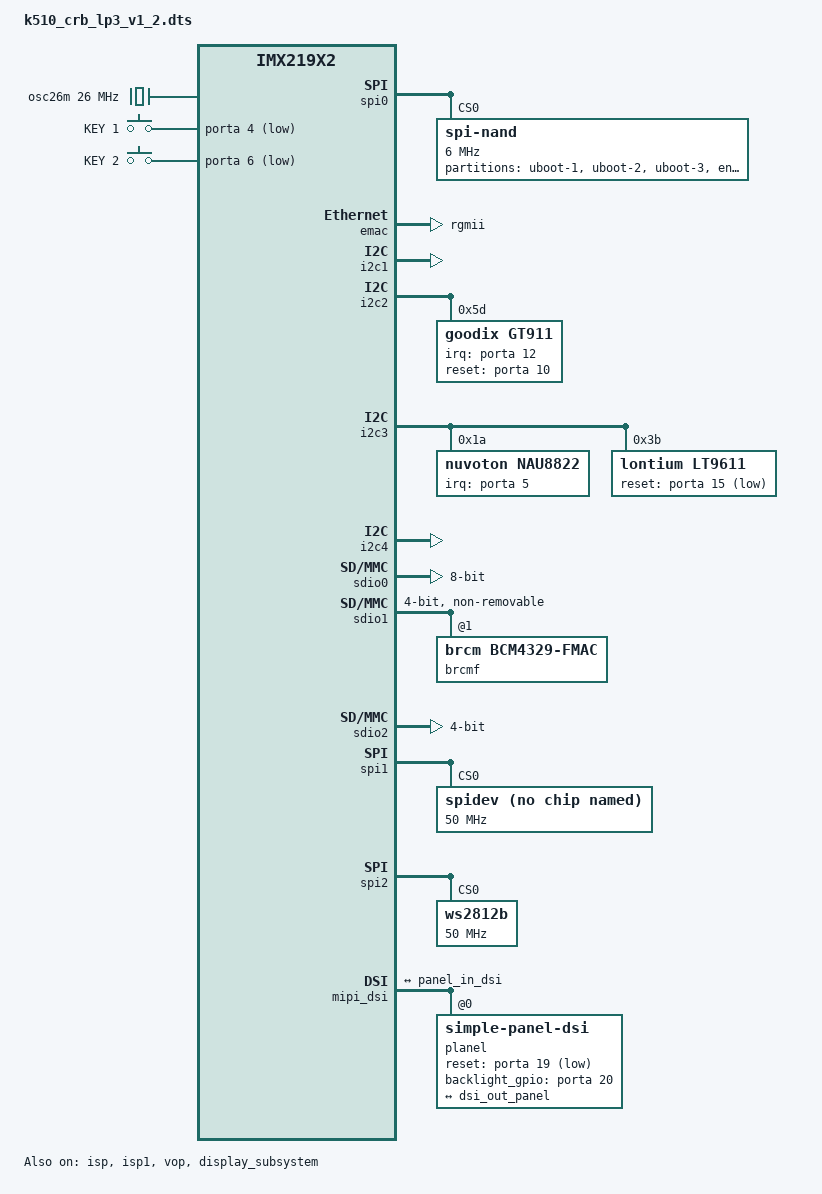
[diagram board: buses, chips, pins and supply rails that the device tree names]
/* Copyright (c) 2022, Canaan Bright Sight Co., Ltd
 *
 * This program is free software; you can redistribute it and/or modify
 * it under the terms of the GNU General Public License version 2 as
 * published by the Free Software Foundation.
*/
#include "k510_common/k510.dtsi"                    /* k510 soc top, include cpu/cache/memory/noc/axi/ahb/apb/sysctl etc. */
#include "k510_common/interrupt_provider.dtsi"      /* k510 soc interrupt controller */
#include "k510_common/interrupt_consumer.dtsi"      /* k510 soc and evb device interrupt consumer */
#include "k510_common/clock_provider.dtsi"          /* k510 soc clock tree */
#include "k510_common/clock_consumer.dtsi"          /* k510 soc and evb clock consumer */
#include "k510_common/reset_provider.dtsi"          /* k510 soc reset provider */
#include "k510_common/reset_consumer.dtsi"          /* k510 soc reset consumer */
#include "k510_common/power_provider.dtsi"          /* k510 soc power provider */
#include "k510_common/power_consumer.dtsi"          /* k510 soc power consumer */
#include "k510_common/dma_provider.dtsi"            /* k510 soc dma provider */
#include "k510_common/dma_consumer.dtsi"            /* k510 soc dma consumer */
#include "k510_common/gpio_provider.dtsi"           /* k510 soc gpio provider */
//#include "k510_common/gpio_consumer.dtsi"           /* k510 soc gpio consumer */
#include "k510_common/iomux_provider.dtsi"          /* k510 soc iomux provider */
#include "k510_common/iomux_consumer.dtsi"          /* k510 soc iomux consumer */
#include "k510_common/camera-imx219x2.dtsi"          /* camera imx219 */
#include <dt-bindings/display/drm_mipi_dsi.h>

/* evalution board device tree, include nandflash/emmc/ethphy/sensor/hdmi/pmic etc. */

/ {
    chosen {
        bootargs            = "root=/dev/nfs rw nfsroot=10.100.226.63:/home/yangguang/nfs_server/k510_nfsroot ip=10.100.226.221:10.100.226.63:10.100.226.254:255.255.255.0:k510:eth0:off console=ttyS0,115200n8 debug loglevel=7";
        stdout-path         = "uart0:115200n8";
    };
};


&ddr_memory {
    reg = <0x0 0x00000000 0x0 0xf000000>;  /*0~240M*/
};

/*DSP: 128M to 136M*/
    
&sharem {
    reg = <0x0 0xf000000 0x0 0x10000000>;  /*240M~496M*/
};

&serial0 {
    clock-frequency = <25000000>;
    reg-shift = <2>;
    reg-io-width = <4>;
    no-loopback-test = <1>;
};

&serial1 {
    clock-frequency = <25000000>;
    reg-shift = <2>;
    reg-io-width = <4>;
    no-loopback-test = <1>;
};
&spi0 {
    status = "okay";
    pinctrl-names = "default";
    pinctrl-0 = <&spi0_pins>;
    num-cs = <4>;
    reg-io-width = <4>;
    spi-nand@0 {
        #address-cells = <1>;
        #size-cells = <1>;
        compatible = "spi-nand";
        spi-max-frequency = <6000000>;
        spi-tx-bus-width = <4>;
	spi-rx-bus-width = <4>;
        reg = <0 0 0 0>;
        partition@0 {
                label = "uboot-1";
                reg = <0x00000000 0x00100000>;
        };

        partition@100000 {
                label = "uboot-2";
                reg = <0x00100000 0x00100000>;
        };

        partition@200000 {
                label = "uboot-3";
                reg = <0x00200000 0x00100000>;
        };

        partition@300000 {
                label = "env";
                reg = <0x00300000 0x00040000>;
        };

        partition@340000 {
                label = "dtb";
                reg = <0x00340000 0x00040000>;
        };

        partition@380000 {
                label = "kernel";
                reg = <0x00380000 0x0f00000>;
        };

        partition@1280000 {
                label = "rootfs";
                reg = <0x1280000 0x06d00000>;
        };
    };
};

&iomux {
//    pinctrl-0 = <&uart0_pins &uart1_pins &mmc0_pins &mmc2_pins &pwm0_pins &pwm1_pins &i2c3_pins &i2s_pins &i2c2_pins &i2c1_pins &i2c4_pins &dvp_pins>;

    uart0_pins: iomux_uart0_pins {
        pinctrl-k510,pins = <
            (112) (FUNC_UART0_SIN)
            (113) (FUNC_UART0_SOUT)
        >;
    };
    uart1_pins: iomux_uart1_pins {
        pinctrl-k510,pins = <
            (114) (FUNC_UART1_SIN)
            (115) (FUNC_UART1_SOUT)
        >;
    };

    emac_rgmii_pins: iomux_emac_rgmii_pins {
        pinctrl-k510,pins = <
            (35) (FUNC_EMAC_MDC)
            (36) (FUNC_EMAC_MDIO)
            (29) (FUNC_EMAC_TX_CLK_OUT)
            (38) (FUNC_EMAC_TX_CTL)
            (46) (FUNC_EMAC_TX_D0)
            (45) (FUNC_EMAC_TX_D1)
            (44) (FUNC_EMAC_TX_D2)
            (43) (FUNC_EMAC_TX_D3)
            (30) (FUNC_EMAC_RX_CLK_IN)
            (37) (FUNC_EMAC_RX_CTL)
            (42) (FUNC_EMAC_RX_D0)
            (41) (FUNC_EMAC_RX_D1)
            (40) (FUNC_EMAC_RX_D2)
            (39) (FUNC_EMAC_RX_D3)
        >;
    };

    i2s_pins: iomux_i2s_pins {
        pinctrl-k510,pins = <
            (100)  (FUNC_AUDIO_INOUT_I2S_SCLK_GATE)
            (101)  (FUNC_AUDIO_INOUT_I2S_WS)
            (99) (FUNC_AUDIO_OUT0)
            (98) (FUNC_AUDIO_IN0)
        >;
    };

    /*MIPI_CSI_I2C_SCL, MIPI_CSI_I2C_SDA*/
    i2c1_pins: iomux_i2c1_pins {
        pinctrl-k510,pins = <
            (120) (FUNC_I2C1_SCLK)
            (121) (FUNC_I2C1_SDA)
        >;
    };

    /*MIPI_DSI_I2C_SCL, MIPI_DSI_I2C_SDA*/
    i2c2_pins: iomux_i2c2_pins {
        pinctrl-k510,pins = <
            (103) (FUNC_I2C2_SCLK)
            (102) (FUNC_I2C2_SDA)
        >;
    };
    
    /*IIC_SDA, IIC_SCL*/
    i2c3_pins: iomux_i2c3_pins {
        pinctrl-k510,pins = <
            (116) (FUNC_I2C3_SDA)
            (117) (FUNC_I2C3_SCLK)
        >;
    };
    
    /*I2C_1V8_SCL1, I2C_1V8_SDA1 CSI*/
    i2c4_pins: iomux_i2c4_pins {
        pinctrl-k510,pins = <
            (48) (FUNC_I2C4_SDA)
            (47) (FUNC_I2C4_SCLK)
        >;
    };

    dvp_pins:iomux_dvp_pins{
        pinctrl-k510,pins = <
            (51) (FUNC_DVP_D4   )
            (52) (FUNC_DVP_D5   )
            (53) (FUNC_DVP_D6   )
            (54) (FUNC_DVP_D7   )
            (55) (FUNC_DVP_D8   )
            (56) (FUNC_DVP_D9   )
            (57) (FUNC_DVP_D10  )
            (58) (FUNC_DVP_D11  )
            (59) (FUNC_DVP_D12  )
            (60) (FUNC_DVP_D13  )
            (61) (FUNC_DVP_D14  )
            (62) (FUNC_DVP_D15  )
            (63) (FUNC_DVP_VSYNC)
            (64) (FUNC_DVP_HREF )
            (66) (FUNC_DVP_PCLK )
        >;
    };


    gpio_pins: iomux_gpio_pins {
        pinctrl-k510,pins = <
            (32) (FUNC_GPIO22) /*OEB*/
            (34) (FUNC_GPIO21) /*SEL*/
            (69) (FUNC_GPIO2) /*WIFI_WAKE_OUT*/
            (70) (FUNC_GPIO3) /*BT_RST_IN*/
            (71) (FUNC_GPIO4) /*KEY_1*/
            (75) (FUNC_GPIO5) /*HP_INSERT_DET*/
            (76) (FUNC_GPIO6) /*KEY_2*/
            (77) (FUNC_GPIO7) /*SYS_LED*/
            (78) (FUNC_GPIO19) /*MIPI_DSI_D_RST*/
            (79) (FUNC_GPIO20) /*MIPI_DSI_LCD_EN*/
            (80) (FUNC_GPIO10) /*MIPI_DSI_T_RST*/
            (81) (FUNC_GPIO11) /*BT_WAKE_OUT*/
            (83) (FUNC_GPIO12) /*MIPI_DSI_T_INT*/
            (84) (FUNC_GPIO13) /*BT_WAKE_IN*/
            (85) (FUNC_GPIO14) /*WIFI_EN*/
            (97) (FUNC_GPIO15) /*RSTN*/
            (123) (FUNC_GPIO16) /*USB_OTG_EN*/
        >;
    };

    pwm0_pins: iomux_pwm0_pins {
        pinctrl-k510,pins = <
            (126) (FUNC_PWM_PINS_1_IO_PINS_PWM_1_O_OVAL)  
        >;
    };

    pwm1_pins: iomux_pwm1_pins {
        pinctrl-k510,pins = <
            (127) (FUNC_PWM_PINS_1_IO_PINS_PWM_5_O_OVAL)    
        >;
    };

    spi0_pins: iomux_spi0_pins {
        pinctrl-k510,pins = <
          (86) (FUNC_SPI0_CLK)
          (87) (FUNC_SPI0_CS)
          (88) (FUNC_SPI0_D0)
          (89) (FUNC_SPI0_D1)
          (90) (FUNC_SPI0_D2)
          (91) (FUNC_SPI0_D3)
        >;
    };

    spi1_pins: iomux_spi1_pins {
        pinctrl-k510,pins = <
            (104) (FUNC_SPI1_SS0)    
            (105) (FUNC_SPI1_SCLK)   
            (106) (FUNC_SPI1_D0) 
            (107) (FUNC_SPI1_D1) 
        >;
    };

    spi2_pins: iomux_spi2_pins {
        pinctrl-k510,pins = <
            (122) (FUNC_SPI2_D0)
        >;
    };

    mmc1_pins: iomux_mmc1_pins {
        pinctrl-k510,pins = <
          (17) (FUNC_MMC1_CLK)
          (18) (FUNC_MMC1_CMD)
          (19) (FUNC_MMC1_DATA3)
          (20) (FUNC_MMC1_DATA2)
          (21) (FUNC_MMC1_DATA1)
          (22) (FUNC_MMC1_DATA0)
        >;
    };
};

&serial0 {
    pinctrl-names = "default";
    pinctrl-0 = <&uart0_pins>;

};

&serial1 {
    pinctrl-names = "default";
    pinctrl-0 = <&uart1_pins>;
};
&emac {
    phy-mode = "rgmii";
    pinctrl-names = "default";
    pinctrl-0 = <&emac_rgmii_pins>;
};


&i2c0 {
    status = "disable";
};

&i2c1 {
    status = "okay";
    pinctrl-names = "default";
    pinctrl-0 = <&i2c1_pins>;
};

&i2c2 {
    status = "okay";
    #address-cells  = <1>;
    #size-cells     = <0>;
    pinctrl-names = "default";
    pinctrl-0 = <&i2c2_pins>;

    gt911: touchscreen@5d {
	compatible = "goodix,gt911";
	reg = <0x5d>;

	interrupt-parent = <&porta>;
        interrupts = <12 4>; /*IRQ_TYPE_LEVEL_HIGH*/
	irq-gpios = <&porta 12 GPIO_ACTIVE_HIGH>;
	reset-gpios = <&porta 10  GPIO_ACTIVE_HIGH>;

        touchscreen-size-x = <1080>;
        touchscreen-size-y = <1920>;

        goodix,cfg-group0 = [
	42 38 04 80 07 05 35 00 01 08
	28 08 50 32 03 05 00 00 00 00
	11 11 05 18 1A 1E 14 89 29 0C
	3D 3F 0C 08 00 00 00 2A 02 2C
	32 00 00 00 00 03 64 32 00 00
	00 2D 5A 94 D5 02 00 00 00 04
	8E 30 00 80 37 00 74 3F 00 69
	49 00 60 54 00 60 00 00 00 00
	00 00 00 00 00 00 00 00 00 00
	00 00 00 00 00 00 00 00 00 00
	00 00 00 00 00 00 00 00 00 00
	00 00 18 16 14 12 10 0E 0C 0A
	08 06 04 02 FF FF 00 00 00 00
	00 00 00 00 00 00 00 00 00 00
	00 00 00 02 04 06 08 0A 0F 10
	12 22 21 20 1F 1E 1D 1C 18 16
	FF FF FF FF FF FF FF FF 00 00
	00 00 00 00 00 00 00 00 00 00
	00 00 00 00 36 01
        ];
        status = "okay";
    };
};


&sysctl_boot {
    osc26m: osc26m {
        #clock-cells                            = <0>;
        compatible                              = "fixed-clock";
        clock-frequency                         = <26000000>;
        clock-accuracy                          = <0>;
    };
};

&i2c3 {
    status = "okay";
    #address-cells  = <1>;
    #size-cells     = <0>;
    pinctrl-names = "default";
    pinctrl-0 = <&i2c3_pins>;

    nau8822: nau8822@1a {
        compatible = "nuvoton,nau8822";
        reg = <0x1a>;
        clock-names = "mclk";
        clocks = <&osc26m>;
        interrupt-parent = <&porta>;
        interrupts = <5 2>;
    };

    lt9611: lt9611@3b {
        compatible = "lontium,lt9611";
        reg = <0x3b>;
        reset-gpios = <&porta 15 GPIO_ACTIVE_LOW>;
    };
};

&i2c4 {
    status = "okay";
    pinctrl-names = "default";
    pinctrl-0 = <&i2c4_pins>;
};

&i2c5 {
    status = "disable";
};

&i2c6 {
    status = "disable";
};

&sdio0 {
    status    = "okay";
    bus-width = <8>;

    pinctrl-names = "default";
    pinctrl-0 = <&mmc0_pins>;
};

&sdio1 {
    status = "okay";
    pinctrl-names = "default";
    pinctrl-0 = <&mmc1_pins>;

    mmc-pwrseq = <&wifi_pwrseq>;
    bus-width = <4>;
    #address-cells = <1>;
    #size-cells = <0>;
    keep-power-in-suspend;
    non-removable;
    brcmf: wifi@1 {
        reg = <1>;
        compatible = "brcm,bcm4329-fmac";
	brcm,drive-strength = <10>;
	/*
        interrupt-parent = <&porta>;
        interrupt-names = "host-wake";
        interrupts = <2 2>;
	*/
    };
};

&sdio2 {
    status    = "okay";                    
    bus-width = <4>;
    cap-sd-highspeed;
    cdns,phy-input-delay-legacy = <15>;
    cdns,phy-input-delay-sd-highspeed = <15>;

    pinctrl-names = "default";
    pinctrl-0 = <&mmc2_pins>;

};

&spi0 {
    status = "okay";
};

&spi1 {
    status = "okay";
    pinctrl-names = "default";
    pinctrl-0 = <&spi1_pins>;  

    spidev@0 {
        compatible = "spidev";
        reg = <0 0 0 0>;
        spi-max-frequency = <50000000>;
    };
};

&spi2 {
    status = "okay";
    pinctrl-names = "default";
    pinctrl-0 = <&spi2_pins>;

    #address-cells = <1>;
    #size-cells = <0>; 
    ranges = <0 0 0x960a0000>;

    ws2812b@0 {
        compatible = "ws2812b";
        reg = <0>;
        spi-max-frequency = <50000000>;
    };
};

&spis {
    status = "disable";
};

&porta {
    snps,nr-gpios = <32>;
};

&gpio {
    pinctrl-names = "default";
    pinctrl-0 = <&gpio_pins>;
};

&isp {
    status = "okay";
    compatible = "canaan,k510-isp";
    reg = <0x0 0x92600000 0x0 0x200000>;

    dsi_en-gpios = <&porta 20 GPIO_ACTIVE_HIGH>;
    dsi_rest-gpios = <&porta 19 GPIO_ACTIVE_LOW>;

    pinctrl-names = "default";
    pinctrl-0 = <&dvp_pins>;

};

&isp1 {
    status = "okay";
    compatible = "canaan,k510-isp1";
    reg = <0x0 0x92600000 0x0 0x200000>;

//    dsi_en-gpios = <&pca6416_0 14 GPIO_ACTIVE_HIGH>;
//    dsi_rest-gpios = <&pca6416_0 15 GPIO_ACTIVE_LOW>;

//    pinctrl-names = "default";
//    pinctrl-0 = <&dvp_pins>;

};

&mipi_dsi {

    planel@0 {
        compatible = "simple-panel-dsi";
        reg = <0>;

        reset-gpios = <&porta 19 GPIO_ACTIVE_LOW>;
        backlight_gpio-gpios = <&porta 20 GPIO_ACTIVE_HIGH>;
        pinctrl-names = "default";

        prepare-delay-ms = <100>;
        reset-delay-ms = <10>;
        init-delay-ms = <100>;
        disable-delay-ms = <50>;
        unprepare-delay-ms = <20>;

        width-mm = <68>;
        height-mm = <121>;

        dsi,flags = <(MIPI_DSI_MODE_VIDEO | MIPI_DSI_MODE_VIDEO_BURST |
                              MIPI_DSI_MODE_LPM | MIPI_DSI_MODE_EOT_PACKET)>;
        dsi,format = <MIPI_DSI_FMT_RGB888>;
        dsi,lanes = <4>;

        panel-init-sequence-v1 = [
39 00 04 B9 Ff 83 99
39 00 10 B1 02 04 70 90 01 32 33 11 11 4D 57 56 73 02 02
39 00 0c B2 00 80 80 AE 05 07 5A 11 10 10 00
39 00 2e B4 00 FF 04 08 0C 00 00 00 10 00 00 02 00 24 02 04 09 21 03 00 00 0A 90 88 04 08 0C 00 00 00 04 00 00 02 00 24 02 04 08 00 00 02 88 00 08
39 00 28 D3 00 00 00 00 00 00 04 04 32 10 04 00 04 00 00 00 00 00 00 00 00 00 00 21 00 05 05 13 00 00 00 05 40 00 00 00 05 20 80
39 00 21 D5 00 00 21 20 19 19 18 18 00 00 01 00 18 18 03 02 19 19 00 00 00 00 00 00 00 00 31 31 30 30 2F 2F
39 00 21 D6 40 40 20 21 18 18 19 19 40 40 02 03 18 18 00 01 19 19 40 40 40 40 40 40 40 40 31 31 30 30 2F 2F
39 00 11 D8 00 00 00 00 00 00 00 00 00 00 00 00 00 00 00 00
39 00 02 BD 01
39 00 11 D8 00 00 00 00 00 00 00 00 00 00 00 00 00 00 00 00
39 00 02 BD 02
39 00 09 D8 AA AE EA AA AA AE EA AA
39 00 02 BD 00
39 00 37 E0 01 15 22 1E 46 51 5E 5A 63 6A 71 76 7B 82 88 8D 92 9C A0 AB A2 B5 BD 63 61 6E 7A 01 15 22 1E 46 51 5E 5A 63 6A 71 76 7B 82 89 8E 92 9C A0 AB A2 B5 BD 63 61 6E 7A
39 00 03 C0 25 5A
39 00 03 B6 91 91
39 00 02 D2 66
39 00 02 CC 08
39 00 02 36 03
05 00 01 11
05 00 01 29
        ];

        panel-init-sequence-v2 = [
39 00 04 B9 FF 83 99
39 00 02 D2 AA
39 00 10 B1 02 04 71 91 01 32 33 11 11 ab 4d 56 73 02 02
39 00 10 B2 00 80 80 ae 05 07 5a 11 00 00 10 1e 70 03 d4
39 00 2D B4 00 FF 02 C0 02 c0 00 00 08 00 04 06 00 32 04 0a 08 21 03 01 00 0f b8 8b 02 c0 02 c0 00 00 08 00 04 06 00 32 04 0a 08 01 00 0f b8 01
39 00 22 D3 00 00 00 00 00 00 06 00 00 10 04 00 04 00 00 00 00 00 00 00 00 00 00 01 00 05 05 07 00 00 00 05 40
39 00 21 D5 18 18 19 19 18 18 21 20 01 00 07 06 05 04 03 02 18 18 18 18 18 18 2f 2f 30 30 31 31 18 18 18 18
39 00 21 D6 18 18 19 19 40 40 20 21 02 03 04 05 06 07 00 01 40 40 40 40 40 40 2f 2f 30 30 31 31 40 40 40 40
39 00 11 D8 a2 aa 02 a0 a2 a8 02 a0 b0 00 00 00 b0 00 00 00
39 00 02 BD 01
39 00 11 D8 B0 00 00 00 B0 00 00 00 E2 AA 03 F0 E2 AA 03 F0
39 00 02 BD 02
39 00 09 D8 E2 AA 03 F0 E2 AA 03 F0
39 00 02 BD 00
39 00 03 B6 8D 8D
39 00 37 E0 00 12 1f 1a 40 4a 59 55 5e 67 6f 75 7a 82 8b 90 95 9f a3 ad a2 b2 B6 5e 5a 65 77 00 12 1f 1a 40 4a 59 55 5e 67 6f 75 7a 82 8b 90 95 9f a3 ad a2 b2 B6 5e 5a 65 77
39 00 03 C6 FF F9
39 00 02 CC 04
05 00 01 11
05 00 01 29
	];

	display-timings {
            native-mode = <&timing0>;

            timing0: timing0 {
                    clock-frequency = <60000000>;
                    hactive = <1080>;
                    vactive = <1920>;
                    hback-porch = <42>;
                    hfront-porch = <44>;
                    vback-porch = <10>;
                    vfront-porch = <14>;
                    hsync-len = <2>;
                    vsync-len = <2>;
                    hsync-active = <0>;
                    vsync-active = <0>;
                    de-active = <0>;
                    pixelclk-active = <0>;
            };
        };

        ports {
            #address-cells = <1>;
            #size-cells = <0>;

            port@0 {
                reg = <0>;
                panel_in_dsi: endpoint {
                        remote-endpoint = <&dsi_out_panel>;
                };
            };
        };

    };

    ports {
        #address-cells = <1>;
        #size-cells = <0>;

        port@1 {
                reg = <1>;
                dsi_out_panel: endpoint {
                        remote-endpoint = <&panel_in_dsi>;
                };
        };
    };

};

&vop {
    status    = "okay";

};

&display_subsystem {

   status = "okay";
};

&gnne {
    compatible = "k510-gnne";
    reg = <0x0 0x94180000 0x0 0x80000>;
};

&h264 {
    compatible = "al,al5r";
    reg = <0x0 0x92740000 0x0 0x10000>;
};

&dsp {
    compatible = "k510-dsp";
    sysctl-phy-addr = <0x97000000>;
};

&usb {
    reg = <0x0 0x93060000 0x0 0x10000>;
    otg_power_supply-gpios = <&porta 16 GPIO_ACTIVE_HIGH>;
};

&pwm0 {
    pinctrl-names = "default";
    pinctrl-0 = <&pwm0_pins>;

};

&pwm1 {
    pinctrl-names = "default";
    pinctrl-0 = <&pwm1_pins>;

};

&i2s {
    pinctrl-names = "default";
    pinctrl-0 = <&i2s_pins>;

};

/{
    sound {
        compatible = "canaan,canaan-audio-nau8822";
        canaan,model = "CANAAN-I2S";
        canaan,i2s-controller = <&i2s>;
        canaan,audio-codec = <&nau8822>;
    };
};

&manage_subsys {
    wifi_pwrseq: wifi-pwrseq {
        compatible = "mmc-pwrseq-simple";
        reset-gpios = <&porta 14 GPIO_ACTIVE_LOW>;
    };
};

&mailbox {
    #mbox-cells = <1>;
};

/* 
 * mboxes = <&mailbox channel_number tx/rx>
 *          channel_number: 0-15
 *          rx: 0-7
 *          tx: 8-15
 */
&manage_subsys {
    mailbox_client: mailbox_client@0 {
        compatible = "mailbox-client";
        mboxes =    <&mailbox 0>, <&mailbox 1>, <&mailbox 2>, <&mailbox 3>,
                    <&mailbox 4>, <&mailbox 5>, <&mailbox 6>, <&mailbox 7>,
                    <&mailbox 8>, <&mailbox 9>, <&mailbox 10>, <&mailbox 11>,
                    <&mailbox 12>, <&mailbox 13>, <&mailbox 14>, <&mailbox 15>;
        mbox-names = "tx_chan_0", "tx_chan_1", "tx_chan_2", "tx_chan_3", 
                    "tx_chan_4", "tx_chan_5", "tx_chan_6", "tx_chan_7", 
                    "rx_chan_0", "rx_chan_1", "rx_chan_2", "rx_chan_3", 
                    "rx_chan_4", "rx_chan_5", "rx_chan_6", "rx_chan_7";                    
        reg =   <0x1 0x087ffe00 0x0 0x20>, /* cpu2dsp channel 0 */
                <0x1 0x087ffe20 0x0 0x20>, /* cpu2dsp channel 1 */
                <0x1 0x087ffe40 0x0 0x20>, /* cpu2dsp channel 2 */
                <0x1 0x087ffe60 0x0 0x20>, /* cpu2dsp channel 3 */
                <0x1 0x087ffe80 0x0 0x20>, /* cpu2dsp channel 4 */
                <0x1 0x087ffea0 0x0 0x20>, /* cpu2dsp channel 5 */
                <0x1 0x087ffec0 0x0 0x20>, /* cpu2dsp channel 6 */
                <0x1 0x087ffee0 0x0 0x20>, /* cpu2dsp channel 7 */

                <0x1 0x087fff00 0x0 0x20>, /* dsp2cpu channel 0 */
                <0x1 0x087fff20 0x0 0x20>, /* dsp2cpu channel 1 */
                <0x1 0x087fff40 0x0 0x20>, /* dsp2cpu channel 2 */
                <0x1 0x087fff60 0x0 0x20>, /* dsp2cpu channel 3 */
                <0x1 0x087fff80 0x0 0x20>, /* dsp2cpu channel 4 */
                <0x1 0x087fffa0 0x0 0x20>, /* dsp2cpu channel 5 */
                <0x1 0x087fffc0 0x0 0x20>, /* dsp2cpu channel 6 */
                <0x1 0x087fffe0 0x0 0x20>; /* dsp2cpu channel 7 */
    };
};

&noc_bus {
    gpio-keys {
        compatible = "gpio-keys";

        key1 {
            label = "KEY 1";
            linux,code = <30>;
            gpios = <&porta 4 3>;
	    /*
            interrupt-parent = <&porta>;
            interrupts = <4 3>;
	    */
        };

        key2 {
            label = "KEY 2";
            linux,code = <48>;
            gpios = <&porta 6 3>;
            /*
            interrupt-parent = <&porta>;
            interrupts = <6 3>;
	    */
        };
    };
};
